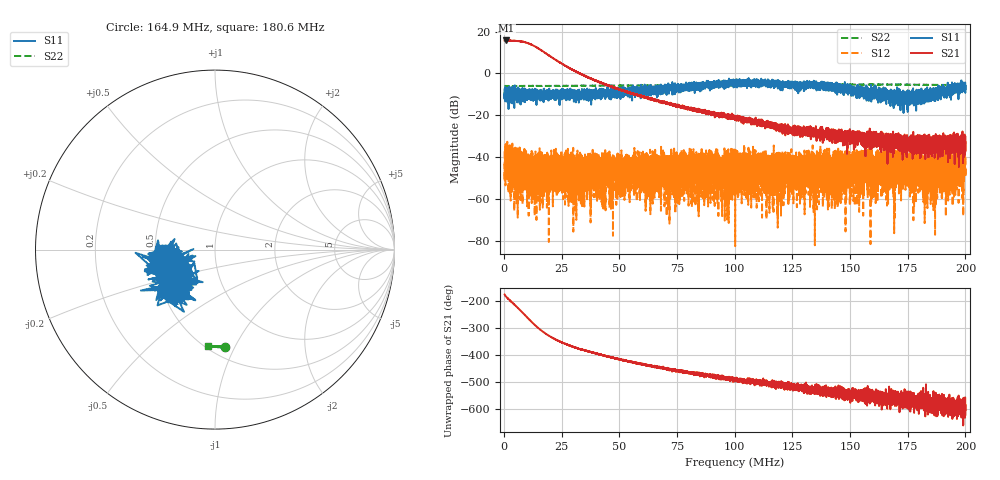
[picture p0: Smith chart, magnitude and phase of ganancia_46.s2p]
# Hz S DB R 50
! CMT, M5065, 19127446, 24.2.4/2
! Date: 10/29/2024 12:42:55 PM
! Data: Format (Calibration Info)
! Freq	S11:dB/Ang(F2)	S21:dB/Ang(F2)	S12:dB/Ang(F2)	S22:dB/Ang(F2)
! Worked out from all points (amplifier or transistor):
!   9000 points, 300 kHz to 200 MHz, reference 50 ohm
!   highest |S21| = 15.8 dB at 1.01 MHz (marker M1)
!   |S21| within 3 dB of that: start of sweep to 13.74 MHz
!   unconditionally stable (mu >= 1): start of sweep to end of sweep
!   at 33.59 MHz: K = 37.35, MAG = 1.3 dB, |S12| = -40.5 dB
!   at 100.2 MHz: K = 341.86, MAG = -17.2 dB, |S12| = -42.7 dB
!   at 200 MHz: K = 3718.50, MAG = -34.8 dB, |S12| = -45.0 dB
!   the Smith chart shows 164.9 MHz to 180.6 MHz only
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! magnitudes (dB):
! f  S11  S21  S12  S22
! 300 kHz  -10.1  15.7  -37.1  -6.0
! 1.01 MHz  -9.0  15.8  -39.3  -5.9
! 13.19 MHz  -10.1  13.1  -42.9  -5.9
! 16.85 MHz  -11.1  10.6  -50.1  -6.0
! 33.59 MHz  -10.5  -0.4  -40.5  -5.9
! 66.87 MHz  -7.8  -13.0  -46.8  -5.7
! 88.67 MHz  -5.2  -17.8  -46.0  -5.6
! 90.02 MHz  -4.8  -19.1  -41.5  -5.7
! 96.46 MHz  -5.8  -20.6  -44.7  -5.7
! 100.2 MHz  -4.7  -20.4  -42.7  -5.7
! 112.9 MHz  -4.6  -23.7  -41.9  -5.6
! 118.4 MHz  -4.0  -25.0  -46.7  -5.5
! 133.4 MHz  -4.0  -28.4  -39.6  -5.3
! 166.7 MHz  -10.4  -31.6  -48.3  -5.3
! 169 MHz  -11.4  -35.3  -50.8  -5.3
! 173.8 MHz  -14.4  -32.2  -45.2  -5.4
! 177.7 MHz  -10.4  -36.0  -55.6  -5.4
! 180.7 MHz  -14.7  -33.3  -40.5  -5.4
! 186.3 MHz  -10.2  -31.0  -52.1  -5.4
! 188.3 MHz  -10.0  -32.5  -41.7  -5.4
! 199 MHz  -5.9  -36.6  -38.0  -5.5
! 200 MHz  -7.4  -37.1  -45.0  -5.4
